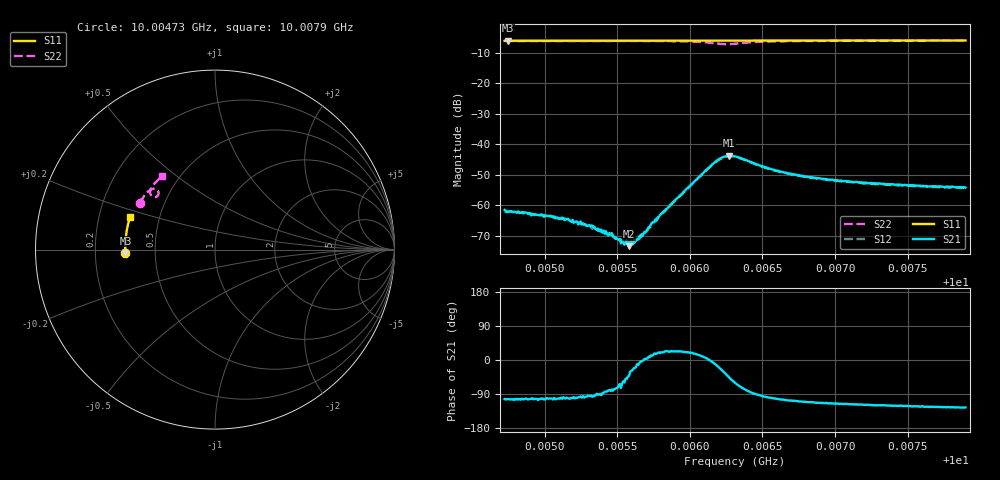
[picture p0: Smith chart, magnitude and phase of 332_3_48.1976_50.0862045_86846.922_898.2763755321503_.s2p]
#  HZ  S  RI  R  50.00
! Rohde & Schwarz Vector Network Analyzer
! Rohde-Schwarz,ZNB20-2Port,1311601062101988,3.16
! Created: UTC 3/20/2024, 11:50:56 AM
! freq[Hz]  re:S11  im:S11  re:S21  im:S21  re:S12  im:S12  re:S22  im:S22
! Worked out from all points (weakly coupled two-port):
!   401 points, 10.00473 GHz to 10.0079 GHz, reference 50 ohm
!   highest |S21| = -43.78 dB at 10.00627 GHz (marker M1); lowest = -73.5 dB at 10.00558 GHz (marker M2)
!   lowest |S11| = -6.0 dB at 10.00475 GHz (marker M3), VSWR 2.99, Z = 16.7 - j0.817 ohm
!   |S11| at or under -10 dB: nowhere
!   |S22| runs from -7.2 to -6.0 dB; largest |S21 - S12| = 0.00039
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1.0004725e10  -0.4987 -0.0199  -0.000188 -0.000814  -9.93e-05 -0.000779  -0.4184 0.2616
1.0004749e10  -0.4987 -0.0184  -0.000176 -0.000754  -0.000138 -0.000771  -0.4177 0.263
1.000505e10  -0.4997 0.00124  -0.000136 -0.000642  -0.0001 -0.000648  -0.4071 0.2808
1.0005256e10  -0.4998 0.0145  -7.85e-05 -0.000473  -2.85e-05 -0.000488  -0.3991 0.2931
1.0005328e10  -0.4999 0.0191  -5.75e-05 -0.000458  -3.3e-05 -0.000409  -0.396 0.2975
1.0005367e10  -0.4998 0.0218  -1.2e-05 -0.000412  2.49e-05 -0.000394  -0.3941 0.2998
1.0005399e10  -0.4998 0.0239  1.82e-05 -0.000355  1.98e-05 -0.000358  -0.3928 0.3017
1.0005463e10  -0.4997 0.028  7.31e-05 -0.000341  5.14e-05 -0.00032  -0.3898 0.3057
1.0005542e10  -0.4996 0.033  0.000143 -0.000213  0.000146 -0.000194  -0.3859 0.3106
1.0005582e10  -0.4995 0.0356  0.000157 -0.000142  0.000204 -0.000135  -0.3839 0.3131
1.0005621e10  -0.4993 0.0381  0.000254 -9.76e-05  0.000226 -9e-05  -0.3818 0.3155
1.0005693e10  -0.4991 0.0429  0.000354 2.04e-05  0.00036 3.5e-05  -0.3774 0.3201
1.0005732e10  -0.499 0.0454  0.00047 0.0001  0.000436 0.000109  -0.3748 0.3224
1.0005788e10  -0.4988 0.0491  0.000609 0.000225  0.000608 0.000253  -0.3709 0.3261
1.000616e10  -0.4961 0.0731  0.00476 -0.00056  0.00466 -0.000342  -0.3182 0.3278
1.0006216e10  -0.4956 0.0763  0.00539 -0.00252  0.00539 -0.0022  -0.3146 0.3105
1.0006271e10  -0.4951 0.0796  0.00448 -0.00467  0.0046 -0.00434  -0.3257 0.2948
1.0006311e10  -0.495 0.0822  0.00315 -0.00547  0.00335 -0.00522  -0.3384 0.292
1.0006604e10  -0.4926 0.101  -0.000809 -0.00359  -0.000642 -0.00353  -0.3592 0.3331
1.0006842e10  -0.4897 0.116  -0.00101 -0.00267  -0.000913 -0.00268  -0.3487 0.3533
1.0007373e10  -0.4818 0.1494  -0.00111 -0.0019  -0.00101 -0.00191  -0.3226 0.3836
1.0007897e10  -0.4718 0.1814  -0.00111 -0.00159  -0.00103 -0.0016  -0.2959 0.4075
